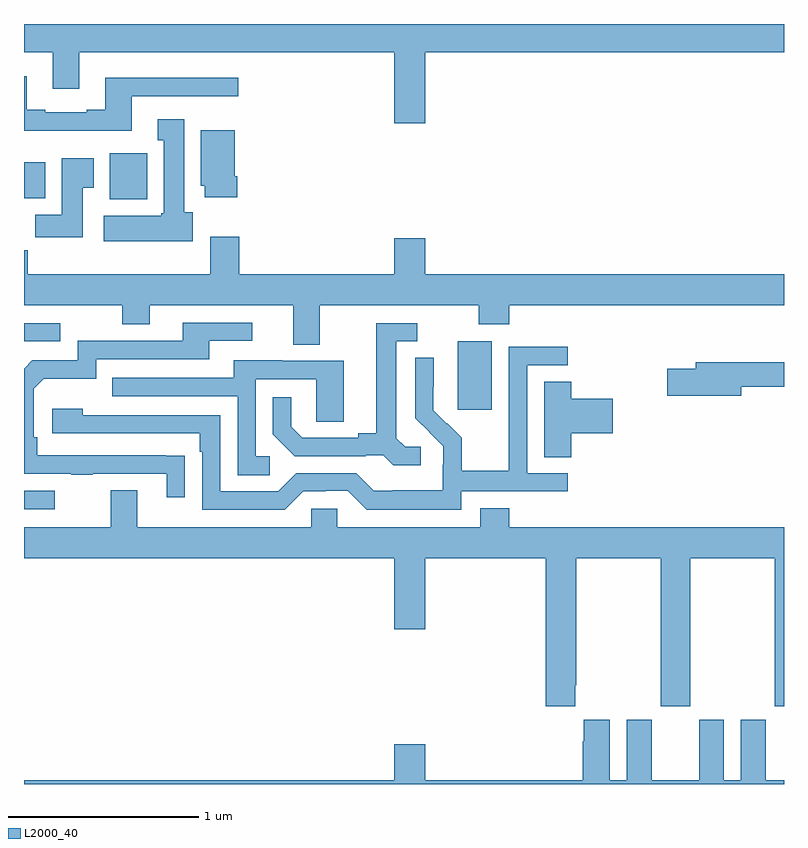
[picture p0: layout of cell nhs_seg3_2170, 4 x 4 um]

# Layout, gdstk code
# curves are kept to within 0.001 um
import gdstk
lib = gdstk.Library(unit=1e-6, precision=1e-09)
def R(c, l, rs):  # rectangles x0, y0, x1, y1
    for r in rs: c.add(gdstk.rectangle(r[:2], r[2:], *l))
def P(c, l, *ps):  # polygons
    for p in ps: c.add(gdstk.Polygon(p, *l))
L2000_40 = (2000, 40)

nhs_seg3_2170 = lib.new_cell('nhs_seg3_2170')
R(nhs_seg3_2170, L2000_40, [(223,695.847,223.162,695.943), (225.284,696.369,225.463,696.73), (223,696.729,223.192,696.825), (223.451,697.478,223.648,697.72), (223,697.484,223.111,697.672)])
P(nhs_seg3_2170, L2000_40, [(225.112,698.252),(227,698.252),(227,698.4),(223,698.4),(223,698.252),(223.151,698.252),(223.151,698.058),(223.291,698.058),(223.291,698.252),(224.948,698.252),(224.948,697.878),(225.112,697.878)],
  [(223.567,698.019),(224.128,698.019),(224.128,698.116),(223.427,698.116),(223.427,697.948),(223.331,697.948),(223.331,697.935),(223.111,697.935),(223.111,697.948),(223.015,697.948),(223.015,698.125),(223,698.125),(223,697.838),(223.567,697.838)],
  [(223.888,697.41),(223.843,697.41),(223.843,697.9),(223.703,697.9),(223.703,697.787),(223.736,697.787),(223.736,697.404),(223.723,697.404),(223.723,697.39),(223.419,697.39),(223.419,697.256),(223.888,697.256)],
  [(224.123,697.6),(224.11,697.6),(224.11,697.84),(223.931,697.84),(223.931,697.548),(223.952,697.548),(223.952,697.488),(224.123,697.488)],
  [(223.309,697.537),(223.366,697.537),(223.366,697.693),(223.199,697.693),(223.199,697.396),(223.06,697.396),(223.06,697.278),(223.309,697.278)],
  [(224.557,696.92),(225.394,696.92),(225.394,696.821),(225.554,696.821),(225.554,696.92),(227,696.92),(227,697.084),(225.112,697.084),(225.112,697.273),(224.948,697.273),(224.948,697.084),(224.132,697.084),(224.132,697.279),(223.979,697.279),(223.979,697.084),(223.019,697.084),(223.019,697.208),(223,697.208),(223,696.92),(223.516,696.92),(223.516,696.821),(223.663,696.821),(223.663,696.92),(224.417,696.92),(224.417,696.712),(224.557,696.712)],
  [(223.847,696.128),(223.07,696.129),(223.07,696.226),(223.05,696.226),(223.05,696.48),(223.103,696.533),(223.38,696.533),(223.38,696.636),(223.975,696.636),(223.975,696.732),(224.2,696.732),(224.2,696.828),(223.835,696.828),(223.835,696.732),(223.284,696.732),(223.284,696.63),(223.044,696.63),(223,696.586),(223,696.033),(223.249,696.033),(223.249,696.028),(223.361,696.028),(223.361,696.033),(223.751,696.033),(223.751,695.91),(223.847,695.91)],
  [(225.088,696.174),(225.006,696.174),(224.959,696.221),(224.959,696.729),(225.07,696.729),(225.07,696.825),(224.855,696.825),(224.855,696.245),(224.759,696.245),(224.759,696.222),(224.464,696.222),(224.407,696.279),(224.407,696.436),(224.31,696.436),(224.31,696.242),(224.426,696.126),(224.798,696.126),(224.798,696.129),(224.892,696.129),(224.944,696.077),(225.088,696.077)],
  [(225.3,695.94),(225.862,695.94),(225.862,696.036),(225.648,696.036),(225.648,696.603),(225.862,696.603),(225.862,696.702),(225.552,696.702),(225.552,696.272),(225.55,696.272),(225.55,696.049),(225.305,696.049),(225.305,696.223),(225.228,696.3),(225.225,696.297),(225.155,696.368),(225.156,696.644),(225.06,696.644),(225.06,696.326),(225.206,696.178),(225.206,696.081),(225.204,696.081),(225.204,695.947),(224.941,695.947),(224.941,695.943),(224.841,695.943),(224.748,696.036),(224.433,696.036),(224.337,695.94),(224.034,695.94),(224.034,696.342),(223.31,696.342),(223.31,696.376),(223.149,696.376),(223.149,696.246),(223.925,696.246),(223.925,696.149),(223.938,696.149),(223.938,695.844),(224.373,695.844),(224.469,695.94),(224.588,695.94),(224.588,695.943),(224.703,695.943),(224.803,695.843),(225.3,695.843)],
  [(224.293,696.126),(224.22,696.126),(224.22,696.531),(224.538,696.531),(224.538,696.307),(224.683,696.307),(224.683,696.627),(224.359,696.627),(224.359,696.631),(224.105,696.631),(224.105,696.537),(223.465,696.537),(223.465,696.441),(224.124,696.441),(224.124,696.025),(224.293,696.025)],
  [(226.774,696.49),(227,696.49),(227,696.619),(226.535,696.619),(226.535,696.585),(226.386,696.585),(226.386,696.443),(226.774,696.443)],
  [(225.881,696.245),(226.099,696.245),(226.099,696.428),(225.881,696.428),(225.881,696.518),(225.737,696.518),(225.737,696.121),(225.881,696.121)],
  [(225.901,694.921),(225.906,694.921),(225.906,695.588),(226.351,695.588),(226.351,694.809),(226.506,694.809),(226.506,695.588),(226.951,695.588),(226.951,694.809),(227,694.809),(227,695.752),(225.554,695.752),(225.554,695.851),(225.401,695.851),(225.401,695.752),(224.649,695.752),(224.649,695.85),(224.511,695.85),(224.511,695.752),(223.597,695.752),(223.597,695.947),(223.457,695.947),(223.457,695.752),(223,695.752),(223,695.588),(224.948,695.588),(224.948,695.214),(225.112,695.214),(225.112,695.588),(225.746,695.588),(225.746,694.809),(225.901,694.809)],
  [(227,694.42),(226.903,694.42),(226.903,694.738),(226.772,694.738),(226.772,694.42),(226.684,694.42),(226.684,694.738),(226.553,694.738),(226.553,694.42),(226.303,694.42),(226.303,694.738),(226.172,694.738),(226.172,694.42),(226.084,694.42),(226.084,694.738),(225.947,694.738),(225.947,694.625),(225.941,694.625),(225.941,694.42),(225.112,694.42),(225.112,694.609),(224.948,694.609),(224.948,694.42),(223,694.42),(223,694.4),(227,694.4)])

lib.write_gds('nhs_seg3_2170.gds')
